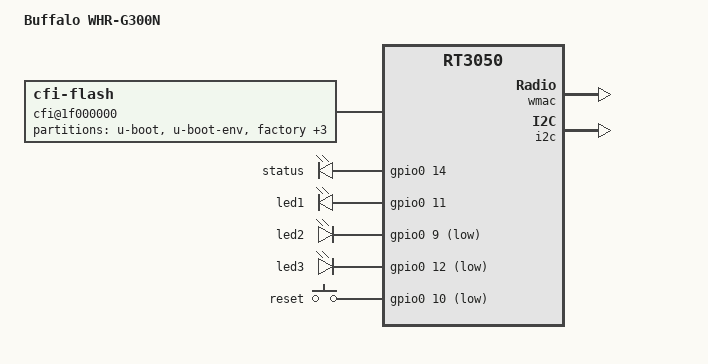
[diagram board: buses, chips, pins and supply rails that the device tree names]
/dts-v1/;

#include <dt-bindings/gpio/tegra-gpio.h>
#include "zbsd-rt3050.dtsi"

/ {
	compatible = "WHR-G300N", "ralink,rt3050-soc";
	model = "Buffalo WHR-G300N";

	cfi@1f000000 {
		compatible = "cfi-flash";
		reg = <0x1f000000 0x800000>;
		bank-width = <2>;
		device-width = <2>;
		#address-cells = <1>;
		#size-cells = <1>;

		partition@0 {
			label = "u-boot";
			reg = <0x0 0x30000>;
			read-only;
		};

		partition@30000 {
			label = "u-boot-env";
			reg = <0x30000 0x10000>;
			read-only;
		};

		factory: partition@40000 {
			label = "factory";
			reg = <0x40000 0x10000>;
			read-only;
		};

		partition@50000 {
			label = "kernel";
			reg = <0x50000 0x100000>;
		};

		partition@160000 {
			label = "rootfs";
			reg = <0x150000 0x2b0000>;
		};

		partition@400000 {
			label = "upgrade";
			reg = <0x50000 0x3b0000>;
		};
	};

	gpio-leds {
		compatible = "gpio-leds";

		status {
			label = "status";
			gpios = <&gpio0 14 0>;
		};

		led1 {
			label = "led1";
			gpios = <&gpio0 11 0>;
		};

		led2 {
			label = "led2";
			gpios = <&gpio0 9 1>;
		};

		led3 {
			label = "led3";
			gpios = <&gpio0 12 1>;
		};

	};
	gpio-keys-polled {
		compatible = "gpio-keys-polled";
		#address-cells = <1>;
		#size-cells = <0>;
		poll-interval = <20>;

		reset {
			label = "reset";
			gpios = <&gpio0 10 1>;
			linux,code = <0x198>;
		};

	};

};

&pinctrl {
	state_default: pinctrl0 {
		gpio {
			ralink,group = "spi", "jtag", "uartf", "rgmii", "mdio";
			ralink,function = "gpio";
		};

	};
};

&ethernet {
//	mtd-mac-address = <&factory 0x28>;
};

&esw {
	mediatek,portmap = <0x2f>;
};

&wmac {
//	ralink,mtd-eeprom = <&factory 0>;
};
/*
&otg {
	status = "okay";
};
*/

&i2c {
	status = "okay";
};
